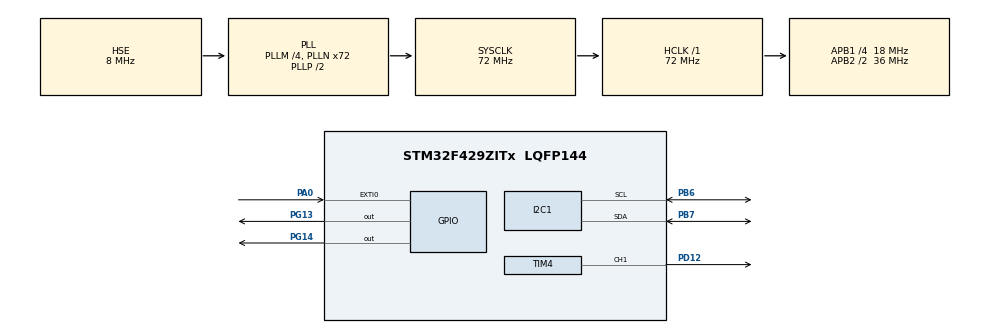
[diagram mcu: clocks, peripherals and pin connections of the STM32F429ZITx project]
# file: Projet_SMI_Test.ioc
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FREERTOS.Mutexes01=BlinkTurnMutex,Dynamic,NULL,Available;humidityMutex,Dynamic,NULL,Available;screenTouchMutex,Dynamic,NULL,Available
FREERTOS.Tasks01=blinkGreenTask,24,128,StartBlinkGreenTask,Default,NULL,Dynamic,NULL,NULL;blinkRedTask,8,128,StartBlinkRedTask,Default,NULL,Dynamic,NULL,NULL;setPWM,8,128,StartSetPWM,Default,NULL,Dynamic,NULL,NULL;readHumidity,8,128,StartReadHumidity,Default,NULL,Dynamic,NULL,NULL;readTouchLCD,8,128,StartReadTouchLCD,Default,NULL,Dynamic,NULL,NULL;setLCDState,8,128,StartSetLCDState,Default,NULL,Dynamic,NULL,NULL
FREERTOS.Timers01=touchTImer,CallbackTouchTimer,osTimerOnce,Default,NULL,Dynamic,NULL;runTime,CallbackRunTimer,osTimerOnce,Default,NULL,Dynamic,NULL
FREERTOS.configENABLE_FPU=1
Mcu.Family=STM32F4
Mcu.Name=STM32F429ZITx
Mcu.Package=LQFP144
NVIC.EXTI0_IRQn=true\:5\:0\:false\:false\:true\:true\:true\:true\:true
NVIC.PriorityGroup=NVIC_PRIORITYGROUP_4
NVIC.TIM2_IRQn=true\:15\:0\:false\:false\:true\:false\:false\:true\:true
NVIC.TimeBase=TIM2_IRQn
NVIC.TimeBaseIP=TIM2
PA0/WKUP.GPIO_ModeDefaultEXTI=GPIO_MODE_IT_RISING
PA0/WKUP.Signal=GPXTI0
PA13.Mode=Serial_Wire
PA13.Signal=SYS_JTMS-SWDIO
PA14.Mode=Serial_Wire
PA14.Signal=SYS_JTCK-SWCLK
PB6.Mode=I2C
PB6.Signal=I2C1_SCL
PB7.Mode=I2C
PB7.Signal=I2C1_SDA
PD12.GPIO_PuPd=GPIO_PULLUP
PD12.GPIO_Speed=GPIO_SPEED_FREQ_MEDIUM
PD12.Signal=S_TIM4_CH1
PG13.Signal=GPIO_Output
PG14.Signal=GPIO_Output
PH0/OSC_IN.Mode=HSE-External-Oscillator
PH0/OSC_IN.Signal=RCC_OSC_IN
PH1/OSC_OUT.Mode=HSE-External-Oscillator
PH1/OSC_OUT.Signal=RCC_OSC_OUT
ProjectManager.HeapSize=0x200
ProjectManager.StackSize=0x400
ProjectManager.TargetToolchain=STM32CubeIDE
RCC.48MHZClocksFreq_Value=36000000
RCC.AHBFreq_Value=72000000
RCC.APB1CLKDivider=RCC_HCLK_DIV4
RCC.APB1Freq_Value=18000000
RCC.APB1TimFreq_Value=36000000
RCC.APB2CLKDivider=RCC_HCLK_DIV2
RCC.APB2Freq_Value=36000000
RCC.APB2TimFreq_Value=72000000
RCC.CortexFreq_Value=72000000
RCC.HCLKFreq_Value=72000000
RCC.HSE_VALUE=8000000
RCC.HSI_VALUE=16000000
RCC.LSE_VALUE=32768
RCC.PLLM=4
RCC.PLLN=72
RCC.PLLSourceVirtual=RCC_PLLSOURCE_HSE
RCC.SYSCLKFreq_VALUE=72000000
RCC.SYSCLKSource=RCC_SYSCLKSOURCE_PLLCLK
RCC.VCOOutputFreq_Value=144000000
SH.S_TIM4_CH1.0=TIM4_CH1,PWM Generation1 CH1
TIM4.Channel-PWM\ Generation1\ CH1=TIM_CHANNEL_1
VP_FREERTOS_VS_CMSIS_V2.Mode=CMSIS_V2
VP_SYS_VS_tim2.Mode=TIM2
VP_TIM4_VS_ClockSourceINT.Mode=Internal
board=custom

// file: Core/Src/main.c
/* USER CODE BEGIN Header */
/**
  ******************************************************************************
  * @file           : main.c
  * @brief          : Main program body
  ******************************************************************************
  * @attention
  *
  * Copyright (c) 2025 STMicroelectronics.
  * All rights reserved.
  *
  * This software is licensed under terms that can be found in the LICENSE file
  * in the root directory of this software component.
  * If no LICENSE file comes with this software, it is provided AS-IS.
  *
  ******************************************************************************
  */
/* USER CODE END Header */
#include "main.h"
#include "cmsis_os.h"
#include <stm32f4xx.h>
#include <stdio.h>

/* USER CODE BEGIN Includes */

#include "am2320.h"
/* USER CODE END Includes */

I2C_HandleTypeDef hi2c1;

TIM_HandleTypeDef htim4;

/* Definitions for blinkGreenTask */
osThreadId_t blinkGreenTaskHandle;
const osThreadAttr_t blinkGreenTask_attributes = {
  .name = "blinkGreenTask",
  .stack_size = 128 * 4,
  .priority = (osPriority_t) osPriorityNormal,
};
/* Definitions for blinkRedTask */
osThreadId_t blinkRedTaskHandle;
const osThreadAttr_t blinkRedTask_attributes = {
  .name = "blinkRedTask",
  .stack_size = 128 * 4,
  .priority = (osPriority_t) osPriorityLow,
};
/* Definitions for setPWM */
osThreadId_t setPWMHandle;
const osThreadAttr_t setPWM_attributes = {
  .name = "setPWM",
  .stack_size = 128 * 4,
  .priority = (osPriority_t) osPriorityLow,
};
/* Definitions for readHumidity */
osThreadId_t readHumidityHandle;
const osThreadAttr_t readHumidity_attributes = {
  .name = "readHumidity",
  .stack_size = 128 * 4,
  .priority = (osPriority_t) osPriorityLow,
};
/* Definitions for readTouchLCD */
osThreadId_t readTouchLCDHandle;
const osThreadAttr_t readTouchLCD_attributes = {
  .name = "readTouchLCD",
  .stack_size = 128 * 4,
  .priority = (osPriority_t) osPriorityLow,
};
/* Definitions for setLCDState */
osThreadId_t setLCDStateHandle;
const osThreadAttr_t setLCDState_attributes = {
  .name = "setLCDState",
  .stack_size = 128 * 4,
  .priority = (osPriority_t) osPriorityLow,
};
/* Definitions for touchTImer */
osTimerId_t touchTImerHandle;
const osTimerAttr_t touchTImer_attributes = {
  .name = "touchTImer"
};
/* Definitions for runTime */
osTimerId_t runTimeHandle;
const osTimerAttr_t runTime_attributes = {
  .name = "runTime"
};
/* Definitions for BlinkTurnMutex */
osMutexId_t BlinkTurnMutexHandle;
const osMutexAttr_t BlinkTurnMutex_attributes = {
  .name = "BlinkTurnMutex"
};
/* Definitions for humidityMutex */
osMutexId_t humidityMutexHandle;
const osMutexAttr_t humidityMutex_attributes = {
  .name = "humidityMutex"
};
/* Definitions for screenTouchMutex */
osMutexId_t screenTouchMutexHandle;
const osMutexAttr_t screenTouchMutex_attributes = {
  .name = "screenTouchMutex"
};
/* USER CODE BEGIN PV */

float humidity = 20.0f; // Globale
//#define PWM_1V   19800
//#define PWM_2V   39700
#define PWM_1V   27500		// OFF
#define PWM_2V   55000		// ON
#define HUMIDITY_THRESHOLD 50.0f	// Taux fixe

int UneSeulFois = 1;
int x = 20;
int y = 0;
uint16_t string_color = 0x0cf7;
uint16_t background_color = 0x0;
char Texte[] = "Taux d'humidite est:";
int Pret_pour_ecrire;
uint32_t tempsDepare = 0;
int EtatEcran = 0;
int timerStarted = 0;

/* USER CODE END PV */

void SystemClock_Config(void);
static void MX_GPIO_Init(void);
static void MX_TIM4_Init(void);
static void MX_I2C1_Init(void);
void StartBlinkGreenTask(void *argument);
void StartBlinkRedTask(void *argument);
void StartSetPWM(void *argument);
void StartReadHumidity(void *argument);
void StartReadTouchLCD(void *argument);
void StartSetLCDState(void *argument);
void CallbackTouchTimer(void *argument);
void CallbackRunTimer(void *argument);

/* USER CODE BEGIN 0 */
void floatToChar(float value, char *buffer)
{
    int integerPart;
    int decimalPart;

    // Gestion du signe
    if (value < 0)
    {
        *buffer++ = '-';
        value = -value;
    }

    // Partie entière
    integerPart = (int)value;

    // Partie décimale (2 chiffres)
    decimalPart = (int)((value - integerPart) * 100);

    // Conversion partie entière
    int i = 0;
    char temp[10];

    if (integerPart == 0)
    {
        temp[i++] = '0';
    }
    else
    {
        while (integerPart > 0)
        {
            temp[i++] = (integerPart % 10) + '0';
            integerPart /= 10;
        }
    }

    // Inverser (car on a construit à l’envers)
    for (int j = i - 1; j >= 0; j--)
    {
        *buffer++ = temp[j];
    }

    // Point décimal
    *buffer++ = '.';

    // Décimales (toujours 2 chiffres)
    *buffer++ = (decimalPart / 10) + '0';
    *buffer++ = (decimalPart % 10) + '0';
    *buffer++ = '%';
    // Fin de chaîne
    *buffer = '\0';
}

void HAL_GPIO_EXTI_Callback(uint16_t GPIO_Pin)
{
    if (GPIO_Pin == GPIO_PIN_0)
    {
        osThreadFlagsSet(readTouchLCDHandle, 1);
    }
}

/* USER CODE END 0 */

int main(void)
{

  /* MCU Configuration--------------------------------------------------------*/

  /* Reset of all peripherals, Initializes the Flash interface and the Systick. */
  HAL_Init();

  /* USER CODE BEGIN Init */
  SystemClock_Config();
  AFFICHAGE_InitLcd();
  LCD_CopyColorToFrameBuffer(0x0000);
  LCD_TransmitFrameBuffer();
  /* USER CODE END Init */

  /* Configure the system clock */

  /* Initialize all configured peripherals */
  MX_GPIO_Init();
  MX_TIM4_Init();
  MX_I2C1_Init();

  /* Init scheduler */
  osKernelInitialize();
  /* Create the mutex(es) */
  /* creation of BlinkTurnMutex */
  BlinkTurnMutexHandle = osMutexNew(&BlinkTurnMutex_attributes);

  /* creation of humidityMutex */
  humidityMutexHandle = osMutexNew(&humidityMutex_attributes);

  /* creation of screenTouchMutex */
  screenTouchMutexHandle = osMutexNew(&screenTouchMutex_attributes);

  /* Create the timer(s) */
  /* creation of touchTImer */
  touchTImerHandle = osTimerNew(CallbackTouchTimer, osTimerOnce, NULL, &touchTImer_attributes);

  /* creation of runTime */
  runTimeHandle = osTimerNew(CallbackRunTimer, osTimerOnce, NULL, &runTime_attributes);

  /* Create the thread(s) */
  /* creation of blinkGreenTask */
  blinkGreenTaskHandle = osThreadNew(StartBlinkGreenTask, NULL, &blinkGreenTask_attributes);

  /* creation of blinkRedTask */
  blinkRedTaskHandle = osThreadNew(StartBlinkRedTask, NULL, &blinkRedTask_attributes);

  /* creation of setPWM */
  setPWMHandle = osThreadNew(StartSetPWM, NULL, &setPWM_attributes);

  /* creation of readHumidity */
  readHumidityHandle = osThreadNew(StartReadHumidity, NULL, &readHumidity_attributes);

  /* creation of readTouchLCD */
  readTouchLCDHandle = osThreadNew(StartReadTouchLCD, NULL, &readTouchLCD_attributes);

  /* creation of setLCDState */
  setLCDStateHandle = osThreadNew(StartSetLCDState, NULL, &setLCDState_attributes);

  /* Start scheduler */
  osKernelStart();

  /* We should never get here as control is now taken by the scheduler */

  /* Infinite loop */
  while (1)
  {

  }
}

void SystemClock_Config(void)
{
  RCC_OscInitTypeDef RCC_OscInitStruct = {0};
  RCC_ClkInitTypeDef RCC_ClkInitStruct = {0};

  /** Configure the main internal regulator output voltage
  */
  __HAL_RCC_PWR_CLK_ENABLE();
  __HAL_PWR_VOLTAGESCALING_CONFIG(PWR_REGULATOR_VOLTAGE_SCALE3);

  /** Initializes the RCC Oscillators according to the specified parameters
  * in the RCC_OscInitTypeDef structure.
  */
  RCC_OscInitStruct.OscillatorType = RCC_OSCILLATORTYPE_HSE;
  RCC_OscInitStruct.HSEState = RCC_HSE_ON;
  RCC_OscInitStruct.PLL.PLLState = RCC_PLL_ON;
  RCC_OscInitStruct.PLL.PLLSource = RCC_PLLSOURCE_HSE;
  RCC_OscInitStruct.PLL.PLLM = 4;
  RCC_OscInitStruct.PLL.PLLN = 72;
  RCC_OscInitStruct.PLL.PLLP = RCC_PLLP_DIV2;
  RCC_OscInitStruct.PLL.PLLQ = 4;
  if (HAL_RCC_OscConfig(&RCC_OscInitStruct) != HAL_OK)
  {
    Error_Handler();
  }

  /** Initializes the CPU, AHB and APB buses clocks
  */
  RCC_ClkInitStruct.ClockType = RCC_CLOCKTYPE_HCLK|RCC_CLOCKTYPE_SYSCLK
                              |RCC_CLOCKTYPE_PCLK1|RCC_CLOCKTYPE_PCLK2;
  RCC_ClkInitStruct.SYSCLKSource = RCC_SYSCLKSOURCE_PLLCLK;
  RCC_ClkInitStruct.AHBCLKDivider = RCC_SYSCLK_DIV1;
  RCC_ClkInitStruct.APB1CLKDivider = RCC_HCLK_DIV4;
  RCC_ClkInitStruct.APB2CLKDivider = RCC_HCLK_DIV2;

  if (HAL_RCC_ClockConfig(&RCC_ClkInitStruct, FLASH_LATENCY_2) != HAL_OK)
  {
    Error_Handler();
  }
}

static void MX_I2C1_Init(void)
{

  hi2c1.Instance = I2C1;
  hi2c1.Init.ClockSpeed = 100000;
  hi2c1.Init.DutyCycle = I2C_DUTYCYCLE_2;
  hi2c1.Init.OwnAddress1 = 0;
  hi2c1.Init.AddressingMode = I2C_ADDRESSINGMODE_7BIT;
  hi2c1.Init.DualAddressMode = I2C_DUALADDRESS_DISABLE;
  hi2c1.Init.OwnAddress2 = 0;
  hi2c1.Init.GeneralCallMode = I2C_GENERALCALL_DISABLE;
  hi2c1.Init.NoStretchMode = I2C_NOSTRETCH_DISABLE;
  if (HAL_I2C_Init(&hi2c1) != HAL_OK)
  {
    Error_Handler();
  }

  /** Configure Analogue filter
  */
  if (HAL_I2CEx_ConfigAnalogFilter(&hi2c1, I2C_ANALOGFILTER_ENABLE) != HAL_OK)
  {
    Error_Handler();
  }

  /** Configure Digital filter
  */
  if (HAL_I2CEx_ConfigDigitalFilter(&hi2c1, 0) != HAL_OK)
  {
    Error_Handler();
  }

}

static void MX_TIM4_Init(void)
{

  TIM_ClockConfigTypeDef sClockSourceConfig = {0};
  TIM_MasterConfigTypeDef sMasterConfig = {0};
  TIM_OC_InitTypeDef sConfigOC = {0};

  htim4.Instance = TIM4;
  htim4.Init.Prescaler = 0;
  htim4.Init.CounterMode = TIM_COUNTERMODE_UP;
  htim4.Init.Period = 65535;
  htim4.Init.ClockDivision = TIM_CLOCKDIVISION_DIV1;
  htim4.Init.AutoReloadPreload = TIM_AUTORELOAD_PRELOAD_DISABLE;
  if (HAL_TIM_Base_Init(&htim4) != HAL_OK)
  {
    Error_Handler();
  }
  sClockSourceConfig.ClockSource = TIM_CLOCKSOURCE_INTERNAL;
  if (HAL_TIM_ConfigClockSource(&htim4, &sClockSourceConfig) != HAL_OK)
  {
    Error_Handler();
  }
  if (HAL_TIM_PWM_Init(&htim4) != HAL_OK)
  {
    Error_Handler();
  }
  sMasterConfig.MasterOutputTrigger = TIM_TRGO_RESET;
  sMasterConfig.MasterSlaveMode = TIM_MASTERSLAVEMODE_DISABLE;
  if (HAL_TIMEx_MasterConfigSynchronization(&htim4, &sMasterConfig) != HAL_OK)
  {
    Error_Handler();
  }
  sConfigOC.OCMode = TIM_OCMODE_PWM1;
  sConfigOC.Pulse = 0;
  sConfigOC.OCPolarity = TIM_OCPOLARITY_HIGH;
  sConfigOC.OCFastMode = TIM_OCFAST_DISABLE;
  if (HAL_TIM_PWM_ConfigChannel(&htim4, &sConfigOC, TIM_CHANNEL_1) != HAL_OK)
  {
    Error_Handler();
  }
  HAL_TIM_MspPostInit(&htim4);

}

static void MX_GPIO_Init(void)
{
  GPIO_InitTypeDef GPIO_InitStruct = {0};

  /* GPIO Ports Clock Enable */
  __HAL_RCC_GPIOH_CLK_ENABLE();
  __HAL_RCC_GPIOA_CLK_ENABLE();
  __HAL_RCC_GPIOD_CLK_ENABLE();
  __HAL_RCC_GPIOG_CLK_ENABLE();
  __HAL_RCC_GPIOB_CLK_ENABLE();

  /*Configure GPIO pin Output Level */
  HAL_GPIO_WritePin(GPIOG, GPIO_PIN_13|GPIO_PIN_14, GPIO_PIN_RESET);

  /*Configure GPIO pin : PA0 */
  GPIO_InitStruct.Pin = GPIO_PIN_0;
  GPIO_InitStruct.Mode = GPIO_MODE_IT_RISING;
  GPIO_InitStruct.Pull = GPIO_NOPULL;
  HAL_GPIO_Init(GPIOA, &GPIO_InitStruct);

  /*Configure GPIO pins : PG13 PG14 */
  GPIO_InitStruct.Pin = GPIO_PIN_13|GPIO_PIN_14;
  GPIO_InitStruct.Mode = GPIO_MODE_OUTPUT_PP;
  GPIO_InitStruct.Pull = GPIO_NOPULL;
  GPIO_InitStruct.Speed = GPIO_SPEED_FREQ_LOW;
  HAL_GPIO_Init(GPIOG, &GPIO_InitStruct);

  /* EXTI interrupt init*/
  HAL_NVIC_SetPriority(EXTI0_IRQn, 5, 0);
  HAL_NVIC_EnableIRQ(EXTI0_IRQn);

  /* USER CODE BEGIN MX_GPIO_Init_2 */

  /* Configure GPIO pin Input : PA0 (Button) */
  GPIO_InitStruct.Pin = GPIO_PIN_0;
  GPIO_InitStruct.Mode = GPIO_MODE_IT_RISING;  // interruption sur front montant
  GPIO_InitStruct.Pull = GPIO_PULLDOWN;         // pull-down (adapter selon votre montage)
  GPIO_InitStruct.Speed = GPIO_SPEED_FREQ_LOW;
  HAL_GPIO_Init(GPIOA, &GPIO_InitStruct);

  /* Enable EXTI0 interrupt */
  HAL_NVIC_SetPriority(EXTI0_IRQn, 5, 0);  // priorité compatible FreeRTOS
  HAL_NVIC_EnableIRQ(EXTI0_IRQn);
  /* USER CODE END MX_GPIO_Init_2 */

}

void StartBlinkGreenTask(void *argument)
{
  /* USER CODE BEGIN 5 */
	uint8_t countGreen = 0;
  /* Infinite loop */
  for(;;)
  {
	  if (osMutexAcquire(BlinkTurnMutexHandle, osWaitForever) == osOK)
	  {
		  while(countGreen < 5 )
		  {
			  HAL_GPIO_WritePin(GPIOG, GPIO_PIN_13,GPIO_PIN_SET);
			  osDelay(500);
			  HAL_GPIO_WritePin(GPIOG, GPIO_PIN_13,GPIO_PIN_RESET);
			  osDelay(500);
			  countGreen++;
		  }
		  countGreen = 0;
		  osMutexRelease(BlinkTurnMutexHandle);

		  osDelay(100);
	  }
  }
  /* USER CODE END 5 */
}

void StartBlinkRedTask(void *argument)
{
  /* USER CODE BEGIN StartBlinkRedTask */
	uint8_t countRed = 0;
  /* Infinite loop */
  for(;;)
  {
	  if (osMutexAcquire(BlinkTurnMutexHandle, osWaitForever) == osOK)
	  {
		  while(countRed < 10 )
		  {
			  HAL_GPIO_WritePin(GPIOG, GPIO_PIN_14,GPIO_PIN_SET);
			  osDelay(250);
			  HAL_GPIO_WritePin(GPIOG, GPIO_PIN_14,GPIO_PIN_RESET);
			  osDelay(250);
			  countRed++;
		  }
		  countRed = 0;
		  osMutexRelease(BlinkTurnMutexHandle);

		  osDelay(100);
	  }
  }
  /* USER CODE END StartBlinkRedTask */
}

void StartSetPWM(void *argument)
{
  /* USER CODE BEGIN StartSetPWM */
	/* Start PWM */
	    HAL_TIM_PWM_Start(&htim4, TIM_CHANNEL_1);

	    /* Force initial output = 1V */
	    TIM4->CCR1 = PWM_1V;

	    const uint32_t UPDATE_INTERVAL = 900000; // 15 minutes in ms
	    static uint32_t lastUpdate = 0;

	    for (;;)
	    {
	        uint32_t now = osKernelGetTickCount();

	        if ((now - lastUpdate) >= UPDATE_INTERVAL)
	        {
	            if (osMutexAcquire(humidityMutexHandle, osWaitForever) == osOK)
	            {
	                uint16_t duty;

	                if (humidity < HUMIDITY_THRESHOLD)
	                    duty = PWM_1V;
	                else
	                    duty = PWM_2V;

	                TIM4->CCR1 = duty;

	                osMutexRelease(humidityMutexHandle);
	            }

	            lastUpdate = now;
	        }

	        osDelay(1000);
	    }
  /* USER CODE END StartSetPWM */
}

void StartReadHumidity(void *argument)
{
  /* USER CODE BEGIN StartReadHumidity */
  am2320_data_t meas;

  for(;;)
  {
	  if (osMutexAcquire(humidityMutexHandle, osWaitForever) == osOK)
	  {
        if (am2320_read(&meas)) {

          float humidity_read = meas.humidity_rh;
          float temperature = meas.temperature_c;
          humidity = humidity_read;

        }

        osMutexRelease(humidityMutexHandle);
	  }

    osDelay(2000);
  }
  /* USER CODE END StartReadHumidity */
}

void StartReadTouchLCD(void *argument)
{
  /* USER CODE BEGIN StartReadTouchLCD */

  /* Infinite loop */
    for(;;)
    {
        osThreadFlagsWait(1, osFlagsWaitAny, osWaitForever);

        // ---- Appui bouton detecte ----
        EtatEcran ^= 1;

        if (EtatEcran)
        {
            if (timerStarted == 0)
            {
        		LCD_CopyColorToFrameBuffer(0x07ed);
                LCD_TransmitFrameBuffer();
                tempsDepare = HAL_GetTick();
                timerStarted = 1;
                Pret_pour_ecrire = 1;
            }
        }
        else
        {
        	Pret_pour_ecrire = 0;
        	LCD_CopyColorToFrameBuffer(0x0000);
            LCD_TransmitFrameBuffer();
            timerStarted = 0;
        }

    }
  /* USER CODE END StartReadTouchLCD */
}

void StartSetLCDState(void *argument)
{
  /* USER CODE BEGIN StartSetLCDState */
    char humidityText[16];
    float localHumidity = 0.0f;
    /* Infinite loop */
  for(;;)
  {
        if (osMutexAcquire(humidityMutexHandle, osWaitForever) == osOK)
        {
            localHumidity = humidity;
            osMutexRelease(humidityMutexHandle);
        }

        //Formater en texte "xx.x%"
        floatToChar(humidity, humidityText);

		// eteindre automatiquement apres 10s
		if (EtatEcran && timerStarted && (HAL_GetTick() - tempsDepare >= 10000))
		{
			Pret_pour_ecrire = 0;
			LCD_CopyColorToFrameBuffer(0x0000);
			LCD_TransmitFrameBuffer();
			EtatEcran = 0;
			timerStarted = 0;
		}
        if(Pret_pour_ecrire){
            //Afficher le texte et la barre
            AFFICHAGE_TraiterToutMot(Texte, 5, 10, string_color, background_color);
            AFFICHAGE_TraiterToutMot(humidityText, 100, 100, string_color, background_color);

            Affichage_DisplayHumidityBar((int)localHumidity, 20, 200, 200, 20);
        }
        // 4) Attendre avant la prochaine mise à jour (par ex. toutes les 1s)
        osDelay(1000); // 1000 ms = 1 seconde
    }
      /* USER CODE END StartSetLCDState */
}

/* CallbackTouchTimer function */
void CallbackTouchTimer(void *argument)
{
}

/* CallbackRunTimer function */
void CallbackRunTimer(void *argument)
{
}

void HAL_TIM_PeriodElapsedCallback(TIM_HandleTypeDef *htim)
{
  if (htim->Instance == TIM2)
  {
    HAL_IncTick();
  }
}

void Error_Handler(void)
{
  __disable_irq();
  while (1)
  {
  }
}
